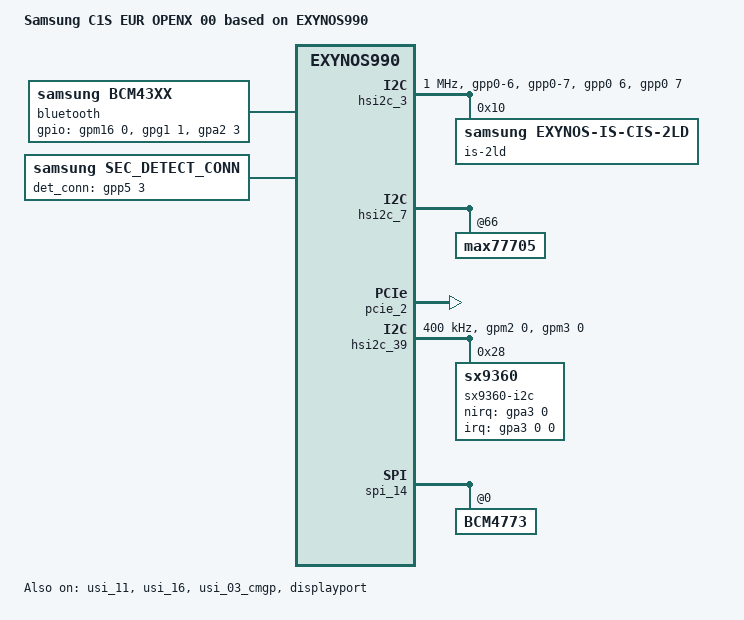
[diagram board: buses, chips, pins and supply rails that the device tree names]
/*
 * SAMSUNG EXYNOS990 board device tree source
 *
 * Copyright (c) 2019 Samsung Electronics Co., Ltd.
 *		http://www.samsung.com
 *
 * This program is free software; you can redistribute it and/or modify
 * it under the terms of the GNU General Public License version 2 as
 * published by the Free Software Foundation.
*/

/dts-v1/;
/plugin/;
#include "exynos990-c1s_pm_00.dtsi"
#include "exynos990-c1s_common.dtsi"
#include "exynos_gpio_config_macros.dtsi"
#include "exynos990-c1s_nfc_00.dtsi"
#include "../exynos/exynos9830-universal9830-cp-s5123-sipc.dtsi"
#include <dt-bindings/gpio/gpio.h>
#include "exynos9830-sensorhub_03.dtsi"
#include "exynos990-c1s_fingerprint_00.dtsi"
#include "battery_data_c2_17.dtsi"
#include "exynos990-c1s_uwb.dtsi"
#include "exynos9830-universal9830_if-pmic-max77705.dtsi"
#include "exynos9830-hubble_vib.dtsi"

#define BOARD_ID	0x10
#define BOARD_REV	0x0

/ {
	compatible = "samsung,C1S EUR OPENX 00", "samsung,EXYNOS990";
	dtbo-hw_rev = <0>;
	dtbo-hw_rev_end = <17>;
	edtbo-rev = <0>;

	fragment@model {
		target-path = "/";
		__overlay__ {
			#address-cells = <2>;
			#size-cells = <1>;

			model = "Samsung C1S EUR OPENX 00 based on EXYNOS990";

			acpm_ipc {
				compatible = "samsung,exynos-acpm-ipc";
				board-id = <BOARD_ID>;
				board-rev = <BOARD_REV>;
			};

			pinctrl@15850000 {
				bt_hostwake: bt-hostwake {
					samsung,pins = "gpa2-3";
					samsung,pin-function = <0xF>;
					samsung,pin-pud = <1>;
				};
			};

			pinctrl@10730000 {
				bt_btwake: bt-btwake {
					samsung,pins = "gpg1-1";
					samsung,pin-function = <1>;
					samsung,pin-pud = <0>;
					samsung,pin-con-pdn = <3>;
					samsung,pin-pud-pdn = <0>;
				};
				cam_detect_conn_setting: cam_detect_conn_setting {
					samsung,pins = "gpp5-3";
					samsung,pin-function = <0xf>;
					samsung,pin-pud = <0>;
					samsung,pin-drv = <0>;
				};
			};

			pinctrl@15C30000 {
				bt_en: bt-en {
					samsung,pins = "gpm16-0";
					samsung,pin-function = <1>;
					samsung,pin-pud = <0>;
					samsung,pin-con-pdn = <3>;
					samsung,pin-pud-pdn = <0>;
				};
			};

			bluetooth {
				compatible = "samsung,bcm43xx";
				gpios = <&gpm16 0 GPIO_ACTIVE_HIGH    /*BT_EN*/
				&gpg1 1 GPIO_ACTIVE_HIGH    /*BT_WAKE*/
				&gpa2 3 GPIO_ACTIVE_HIGH    /*BT_HOST_WAKE*/ >;
				pinctrl-names = "default";
				pinctrl-0=<&bt_en &bt_hostwake &bt_btwake>;
				status = "okay";
			};

			sec_detect_conn {
				compatible = "samsung,sec_detect_conn";
				sec,det_conn_gpios = <&gpp5 3 0>;
				sec,det_conn_name = "CAM_CONNECT";
				sec,det_conn_irq_type = <3>;
				pinctrl-names = "default";
				pinctrl-0 = <&cam_detect_conn_setting>;
			};

			sound {
				pinctrl-names = "default";
				pinctrl-0 = <&main_mic_bias_en>;

				/delete-property/ samsung,routing;
				samsung,routing = "DMIC1", "MICBIAS1",
					"DMIC2", "MICBIAS2",
					"DMIC3", "MICBIAS3",
					"RECEIVER", "Left AMP SPK",
					"SPEAKER", "Right AMP SPK",
					"BLUETOOTH SPK", "ABOX UAIF3 Playback",
					"ABOX UAIF3 Capture", "BLUETOOTH MIC",
					"USB SPK", "ABOX USB Playback",
					"ABOX USB Capture", "USB MIC",
					"FWD SPK", "ABOX FWD Playback",
					"ABOX FWD Capture", "FWD MIC",
					"VTS Virtual Output", "VTS Virtual Output Mux",
					"PAD DPDM", "DMIC1",
					"PAD DPDM", "DMIC2",
					"PAD DPDM", "DMIC3";
			};
		}; /* end of __overlay__ */
	}; /* end of fragment */
}; /* end of root */

&panel_0 {
	/* reset, power */
	gpios = <&gpa3 4 0x1>;
};

&pinctrl_0 {
	conn_det_ctrl: conn-det-ctrl {
		samsung,pins = "gpa0-0";
		samsung,pin-pud = <0>;
	};
};

&pinctrl_4 {
	/* REAR WIDE */
	hsi2c3_bus_in: hsi2c3-bus-in {
		samsung,pins = "gpp0-6", "gpp0-7";
		samsung,pin-function = <0>;
		samsung,pin-pud = <0>;
		samsung,pin-drv = <0>;
		samsung,pin-con-pdn = <2>;
		samsung,pin-pud-pdn = <0>;
	};
};

&panel_drv_0 {
	pinctrl-0 = <&disp_det_ctrl &disp_te_ctrl &conn_det_ctrl>;
	gpios {
		conn-det {
			name = "conn-det";
			gpios = <&gpa0 0 0>; 		/* 0:NOK(active) 1:OK */
			dir = <1>;  				/* IN */
			irq-type = <0x00002001>;	/* RISING EDGE | ONE_SHOT */
		};
	};
	regulators {
		ddi-vci {
			regulator = <&dp_ldo4>;
		};

		ddi-vdd3 {
			regulator = <&dp_ldo1>;
		};

		ddr-vddr {
			regulator = <&dp_buck>;
		};
		short-detect {
			regulator = <&dp_elvss>;
			from-off = <2000>;
			from-lpm = <0>;
		};
	};
};

&chosen {
	bootargs_ext = "root=/dev/ram0 androidboot.boot_devices=13100000.ufs sec_debug.cp=0";
};

&usi_11 {
	usi_v2_mode = "i2c";
	status = "okay";
};

&usi_16 {
	usi_v2_mode = "spi";
	status = "okay";
};

&usi_03_cmgp {
	usi_v2_mode = "i2c";
	status = "okay";
};

&hsi2c_3 {
	#address-cells = <1>;
	#size-cells = <0>;
	gpios = <&gpp0 6 0 &gpp0 7 0>;
	status = "okay";
	clock-frequency = <1000000>;
	samsung,reset-before-trans;
	samsung,fast-plus-mode;

	pinctrl-names = "default","on_i2c","off_i2c";
	pinctrl-0 = <&hsi2c3_bus_in>;
	pinctrl-1 = <&hsi2c3_bus>;
	pinctrl-2 = <&hsi2c3_bus_in>;

	is-2ld@10 {
		compatible = "samsung,exynos-is-cis-2ld";
		reg = <0x10>; /* 1 bit right shift */
		id = <0>; /* matching is_sensor id */
		setfile = "default";
		rev_reg = <0x0002 2 0xA301>;
	};
};

&hsi2c_7 {
	max77705@66 {
		max77705,extra_fw_enable = <0>;
	};
};

&hsi2c_13 {
	status = "disabled";
};

&pinctrl_1 {
	hsi2c44_bus: hsi2c44-bus {
		samsung,pins = "gpm12-0", "gpm13-0";
		samsung,pin-function = <2>;
		samsung,pin-pud = <0>;
		samsung,pin-drv = <0>;
	};
};

&pinctrl_5 {
	aux_oe: aux-oe {
		samsung,pins = "gpp6-2";
		samsung,pin-function = <1>;
		samsung,pin-pud = <0>;
		samsung,pin-con-pdn = <3>;
		samsung,pin-pud-pdn = <0>;
		};

	sbu_sel: sbu-sel {
		samsung,pins = "gpp6-1";
		samsung,pin-function = <1>;
		samsung,pin-pud = <0>;
		samsung,pin-con-pdn = <3>;
		samsung,pin-pud-pdn = <0>;
		};
};

&displayport {
	status = "okay";
	dp,aux_sw_oe = <&gpp6 2 0>;
	dp,sbu_sw_sel = <&gpp6 1 0>;
	dp,usb_con_sel = <&gpm26 0 0>;

	pinctrl-names = "default";
	pinctrl-0 = <&aux_oe &sbu_sel>;
};

&pcie_2 {
	status = "okay";
	chip-ver = <1>;
	use-sysmmu = "false";
	use-cache-coherency = "true";
	use-msi = "true";
	use-pcieon-sleep = "true";
	phy-power-off = "false";
	ep-device-type = <EP_SAMSUNG_MODEM>;
	ep-device-name = "MODEM";
};

&ufs {
	/* board type for UFS CAL */
	evt-ver = /bits/ 8 <1>;
};

&wacom {
	wacom,fw_path = "epen/w9020_c1_x1ub.bin";
	//wacom,fw_fac_path = "epen/w9020_c2_unit.fw";
	wacom,support_garage_open_test = <0>;

	/* for main spec */
	wacom_elec0 {
		spec_ver = <0 0>; /* major minor */
		max_channel = <23 10>; /* x y */
		shift_value = <4>;

		xx_ref = /bits/ 64 <3977 3990 3777 3776 3767 3868 3948 3959 3993 4041 4023 4002 4091 4216 4324 4304 4263 4291 4258 4206 4294 4432 5342>;
		xy_ref = /bits/ 64 <438 708 482 457 449 437 439 440 449 451 451 451 451 453 455 456 466 461 454 443 478 794 742>;
		yx_ref = /bits/ 64 <791 659 499 464 561 578 523 511 809 748>;
		yy_ref = /bits/ 64 <4593 4580 2694 2732 2721 2647 2690 2492 4747 4790>;

		xx_spec = /bits/ 64 <15000 15000 15000 15000 15000 15000 15000 15000 15000 15000 15000 15000 15000 15000 15000 15000 15000 15000 15000 15000 15000 15000 15000>;
		xy_spec = /bits/ 64 <5000 5000 5000 5000 5000 5000 5000 5000 5000 5000 5000 5000 5000 5000 5000 5000 5000 5000 5000 5000 5000 5000 5000>;
		yx_spec = /bits/ 64 <5000 5000 5000 5000 5000 5000 5000 5000 5000 5000>;
		yy_spec = /bits/ 64 <15000 15000 15000 15000 15000 15000 15000 15000 15000 15000>;

		rxx_ref = /bits/ 64 <10000 10000 10000 10000 10000 10000 10000 10000 10000 10000 10000 10000 10000 10000 10000 10000 10000 10000 10000 10000 10000 10000 10000>;
		rxy_ref = /bits/ 64 <10000 10000 10000 10000 10000 10000 10000 10000 10000 10000 10000 10000 10000 10000 10000 10000 10000 10000 10000 10000 10000 10000 10000>;
		ryx_ref = /bits/ 64 <10000 10000 10000 10000 10000 10000 10000 10000 10000 10000>;
		ryy_ref = /bits/ 64 <10000 10000 10000 10000 10000 10000 10000 10000 10000 10000>;

		drxx_spec = /bits/ 64 <10000 10000 10000 10000 10000 10000 10000 10000 10000 10000 10000 10000 10000 10000 10000 10000 10000 10000 10000 10000 10000 10000 10000>;
		drxy_spec = /bits/ 64 <10000 10000 10000 10000 10000 10000 10000 10000 10000 10000 10000 10000 10000 10000 10000 10000 10000 10000 10000 10000 10000 10000 10000>;
		dryx_spec = /bits/ 64 <10000 10000 10000 10000 10000 10000 10000 10000 10000 10000>;
		dryy_spec = /bits/ 64 <10000 10000 10000 10000 10000 10000 10000 10000 10000 10000>;
	};

	/* for unit spec */
	wacom_elec1 {
		spec_ver = <0 0>; /* major minor */
		max_channel = <23 10>; /* x y */
		shift_value = <4>;

		xx_ref = /bits/ 64 <3977 3990 3777 3776 3767 3868 3948 3959 3993 4041 4023 4002 4091 4216 4324 4304 4263 4291 4258 4206 4294 4432 5342>;
		xy_ref = /bits/ 64 <438 708 482 457 449 437 439 440 449 451 451 451 451 453 455 456 466 461 454 443 478 794 742>;
		yx_ref = /bits/ 64 <791 659 499 464 561 578 523 511 809 748>;
		yy_ref = /bits/ 64 <4593 4580 2694 2732 2721 2647 2690 2492 4747 4790>;

		xx_spec = /bits/ 64 <15000 15000 15000 15000 15000 15000 15000 15000 15000 15000 15000 15000 15000 15000 15000 15000 15000 15000 15000 15000 15000 15000 15000>;
		xy_spec = /bits/ 64 <5000 5000 5000 5000 5000 5000 5000 5000 5000 5000 5000 5000 5000 5000 5000 5000 5000 5000 5000 5000 5000 5000 5000>;
		yx_spec = /bits/ 64 <5000 5000 5000 5000 5000 5000 5000 5000 5000 5000>;
		yy_spec = /bits/ 64 <15000 15000 15000 15000 15000 15000 15000 15000 15000 15000>;

		rxx_ref = /bits/ 64 <10000 10000 10000 10000 10000 10000 10000 10000 10000 10000 10000 10000 10000 10000 10000 10000 10000 10000 10000 10000 10000 10000 10000>;
		rxy_ref = /bits/ 64 <10000 10000 10000 10000 10000 10000 10000 10000 10000 10000 10000 10000 10000 10000 10000 10000 10000 10000 10000 10000 10000 10000 10000>;
		ryx_ref = /bits/ 64 <10000 10000 10000 10000 10000 10000 10000 10000 10000 10000>;
		ryy_ref = /bits/ 64 <10000 10000 10000 10000 10000 10000 10000 10000 10000 10000>;

		drxx_spec = /bits/ 64 <10000 10000 10000 10000 10000 10000 10000 10000 10000 10000 10000 10000 10000 10000 10000 10000 10000 10000 10000 10000 10000 10000 10000>;
		drxy_spec = /bits/ 64 <10000 10000 10000 10000 10000 10000 10000 10000 10000 10000 10000 10000 10000 10000 10000 10000 10000 10000 10000 10000 10000 10000 10000>;
		dryx_spec = /bits/ 64 <10000 10000 10000 10000 10000 10000 10000 10000 10000 10000>;
		dryy_spec = /bits/ 64 <10000 10000 10000 10000 10000 10000 10000 10000 10000 10000>;
	};
};

&hsi2c_39 { /* 15D10000 */
	#address-cells = <1>;
	#size-cells = <0>;
	gpios = <&gpm2 0 0 &gpm3 0 0>;
	status = "okay";
	clock-frequency = <400000>;

	pinctrl-names = "default";
	pinctrl-0 = <&grip_i2c>;

	sx9360-i2c@28 {
		compatible = "sx9360";
		reg = <0x28>;
		status = "okay";
		pinctrl-names = "default";
		pinctrl-0 = <&grip_irq>;
		interrupt-parent = <&gpa3>;
		interrupts = <0 0 0>;

		sx9360,nirq-gpio = <&gpa3 0 0>;
		sx9360,reggnrlctrl2_reg = <0x19>; /* 0x12 - scanperiod: 51ms */
		sx9360,refresolution_reg = <0x0f>; /* same as resolution_reg */
		sx9360,refagainfreq_reg = <0x36>; /* same as againfreq_reg */
		sx9360,resolution_reg = <0x0f>; /* resolution : 1024 */
		sx9360,againfreq_reg = <0x31>; /* 0x25 - freq : 200 kHz, again : +/-5.25 pF */
		sx9360,refgainrawfilt_reg = <0x22>; /* same as gainrawfilt_reg */
		sx9360,gainrawfilt_reg = <0x1a>; /* 0x41 - rawfilter : 1-1/4, gain : x4 */
		sx9360,hyst_reg = <0x15>; /* hysteresis : +/-6 %, debouncer : 2 samples */
		sx9360,proxthresh_reg = <0x24>; /* 0x46 - threshold : 578 */
		sx9360,hallic_cert_detect = <1>;
	};
};

&spi_14 {
	BCM4773@0 {
		ssp-acc-position = <6>;
		ssp-mag-position = <0>;
		ssp-mag-array = /bits/ 8 <240 83 235 204 213 79 1 64 213 52 81 77 193 102 255 122 0 57 20 34
					191 253 245 91 9 117 212>;
		ssp-thermi-up = /bits/ 16 <3244 3216 3177 3127 3063 2987 2893 2785 2663 2522 2364 2191 2019 1841 1664 1492 1325 1165 1024 894 772 658 579>;
		ssp-thermi-sub = /bits/ 16 <4095 4095 4095 4026 3810 3566 3300 3013 2725 2438 2142 1871 1626 1402 1202 1030 874 744 631 535 453 385 331>;
	};
};

/* ----------------------------------------------------------------------------
 * Configurations for GPIOs without Device Driver
 * Note: Do NOT add pins using by device drivers to the configuration below
 * ----------------------------------------------------------------------------
 */
/*
 * pin banks of exynos9830 pin-controller 0 (ALIVE) : pinctrl@15850000
 * GPA0, GPA1, GPA2, GPA3, GPA4
 * GPQ0
 */
&pinctrl_0 {
	pinctrl-names = "default";
	pinctrl-0 = <&initial0>;
	initial0: initial-state {
		PIN_IN(gpa2-1, NONE);			/* HALL_INT3 */
		PIN_IN(gpq0-6, DOWN);			/* XSPEEDY_DCXO */
	};
};

/*
 * pin banks of exynos9830 pin-controller 2 (HSI1) : pinctrl@13040000
 * GPF0, GPF1, GPF2
 */
&pinctrl_2 {
	pinctrl-names = "default";
	pinctrl-0 = <&initial2>;
	initial2: initial-state {
		PIN_IN_SLP(gpf0-2, NONE, INPUT, NONE);  /* MASTER_VER_1_AP */
		PIN_IN_SLP(gpf0-3, NONE, INPUT, NONE);  /* MASTER_VER_2_AP */
		PIN_IN_SLP(gpf2-2, NONE, INPUT, NONE);  /* SLAVE_CHK_2 */
	};
};

/*
 * pin banks of exynos9830 pin-controller 4 (PERIC0) : pinctrl@10430000
 * GPP0, GPP1, GPP2, GPP3, GPP4
 * GPG0
 */
&pinctrl_4 {
	pinctrl-names = "default";
	pinctrl-0 = <&initial4>;
	initial4: initial-state {
		PIN_IN_SLP(gpp2-4, NONE, INPUT, NONE);	/* SUB_VER_1 */
		PIN_IN_SLP(gpp2-5, NONE, INPUT, NONE);	/* SUB_VER_2 */
#if !defined(CONFIG_SEC_FACTORY)
		PIN_IN_SLP(gpp3-1, NONE, INPUT, NONE);	/* CAM_CON_DET */
#endif
	};
};

/*
 * pin banks of exynos9830 pin-controller 5 (PERIC1) : pinctrl@10730000
 * GPP5, GPP6, GPP7, GPP8, GPP9
 * GPC0
 * GPG1
 * GPB0, GPB1, GPB2
 */
&pinctrl_5 {
	pinctrl-names = "default";
	pinctrl-0 = <&initial5>;
	initial5: initial-state {
		PIN_IN_SLP(gpp5-0, NONE, INPUT, NONE);	/* MEM_SCL_1P8 */
		PIN_IN_SLP(gpp5-1, NONE, INPUT, NONE);	/* MEM_SDA_1P8 */
		PIN_IN_SLP(gpp5-5, NONE, INPUT, NONE);	/* HW_REV_M */
		PIN_IN_SLP(gpb0-0, NONE, INPUT, NONE);	/* INTERPOSER_DET_R_2 */
		PIN_IN_SLP(gpb0-1, NONE, INPUT, NONE);	/* INTERPOSER_DET_R_1 */
		PIN_IN_SLP(gpb0-2, NONE, INPUT, NONE);	/* INTERPOSER_DET_L_1 */
		PIN_IN_SLP(gpb0-3, NONE, INPUT, NONE);	/* INTERPOSER_DET_L_2 */
		PIN_IN_SLP(gpb2-7, NONE, INPUT, NONE);	/* SLAVE_CHK_1 */
	};
};

&mipi_phy_csis0_m0s4s4s4s4s4s2 {
	ldo0;
	ldo1;
};

&mipi_phy_csis1_m0s4s4s4s4s4s2 {
	ldo0;
	ldo1;
};

&mipi_phy_csis2_m0s4s4s4s4s4s2 {
	ldo0;
	ldo1;
};

&mipi_phy_csis3_m0s4s4s4s4s4s2 {
	ldo0;
	ldo1;
};

&mipi_phy_csis4_m0s4s4s4s4s4s2 {
	ldo0;
	ldo1;
};

&mipi_phy_csis5_m0s4s4s4s4s4s2 {
	ldo0;
	ldo1;
};

&micbias1 {
	/delete-property/ vin-supply;
	gpio = <&gpp4 1 0>;
	enable-active-high;
	vin-supply = <&buck12_reg>;
};

&micbias2 {
	/delete-property/ regulator-name;
	/delete-property/ vin-supply;
	regulator-name = "sub_micbias_1p8";
	vin-supply = <&ldo13_reg>;
};
